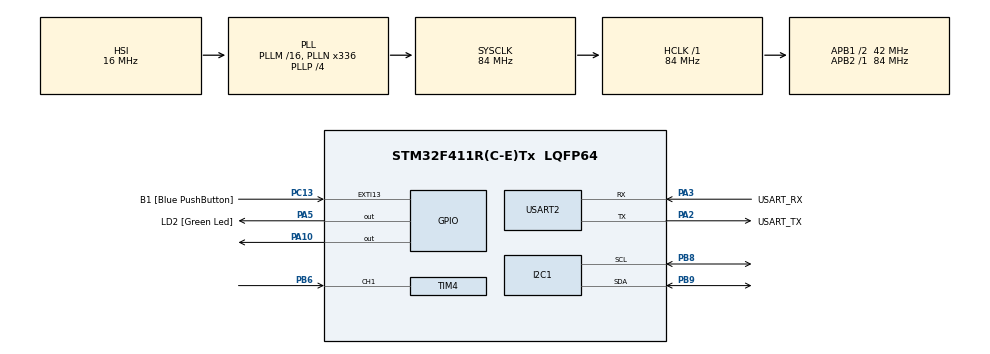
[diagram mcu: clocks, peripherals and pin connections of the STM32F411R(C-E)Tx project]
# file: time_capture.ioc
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I2C1.OwnAddress=1
Mcu.Family=STM32F4
Mcu.Name=STM32F411R(C-E)Tx
Mcu.Package=LQFP64
NVIC.I2C1_EV_IRQn=true\:0\:0\:false\:false\:true\:true\:true
NVIC.PriorityGroup=NVIC_PRIORITYGROUP_0
NVIC.TIM4_IRQn=true\:0\:0\:false\:false\:true\:true\:true
PA10.Signal=GPIO_Output
PA13.GPIO_Label=TMS
PA13.Mode=Serial_Wire
PA13.Signal=SYS_JTMS-SWDIO
PA14.GPIO_Label=TCK
PA14.Mode=Serial_Wire
PA14.Signal=SYS_JTCK-SWCLK
PA2.GPIO_Label=USART_TX
PA2.Mode=Asynchronous
PA2.Signal=USART2_TX
PA3.GPIO_Label=USART_RX
PA3.Mode=Asynchronous
PA3.Signal=USART2_RX
PA5.GPIO_Label=LD2 [Green Led]
PA5.Signal=GPIO_Output
PB3.GPIO_Label=SWO
PB3.Signal=SYS_JTDO-SWO
PB6.Signal=S_TIM4_CH1
PB8.Mode=I2C
PB8.Signal=I2C1_SCL
PB9.Mode=I2C
PB9.Signal=I2C1_SDA
PC13-ANTI_TAMP.GPIO_Label=B1 [Blue PushButton]
PC13-ANTI_TAMP.GPIO_ModeDefaultEXTI=GPIO_MODE_IT_FALLING
PC13-ANTI_TAMP.Signal=GPXTI13
PC14-OSC32_IN.Mode=LSE-External-Oscillator
PC14-OSC32_IN.Signal=RCC_OSC32_IN
PC15-OSC32_OUT.Mode=LSE-External-Oscillator
PC15-OSC32_OUT.Signal=RCC_OSC32_OUT
PH0\ -\ OSC_IN.Mode=HSE-External-Clock-Source
PH0\ -\ OSC_IN.Signal=RCC_OSC_IN
PH1\ -\ OSC_OUT.Mode=HSE-External-Clock-Source
PH1\ -\ OSC_OUT.Signal=RCC_OSC_OUT
ProjectManager.HeapSize=0x200
ProjectManager.StackSize=0x400
ProjectManager.TargetToolchain=STM32CubeIDE
RCC.48MHZClocksFreq_Value=84000000
RCC.AHBFreq_Value=84000000
RCC.APB1CLKDivider=RCC_HCLK_DIV2
RCC.APB1Freq_Value=42000000
RCC.APB1TimFreq_Value=84000000
RCC.APB2Freq_Value=84000000
RCC.APB2TimFreq_Value=84000000
RCC.CortexFreq_Value=84000000
RCC.FLatency-AdvancedSettings=FLASH_LATENCY_2
RCC.HCLKFreq_Value=84000000
RCC.HSE_VALUE=8000000
RCC.HSI_VALUE=16000000
RCC.PLLN=336
RCC.PLLP=RCC_PLLP_DIV4
RCC.SYSCLKFreq_VALUE=84000000
RCC.SYSCLKSource=RCC_SYSCLKSOURCE_PLLCLK
RCC.VCOOutputFreq_Value=336000000
SH.S_TIM4_CH1.0=TIM4_CH1,Input_Capture1_from_TI1
TIM3.Prescaler=83
TIM4.Channel-Input_Capture1_from_TI1=TIM_CHANNEL_1
TIM4.ICPolarity_CH1=TIM_INPUTCHANNELPOLARITY_BOTHEDGE
TIM4.Prescaler=83
USART2.VirtualMode=VM_ASYNC
VP_TIM3_VS_ClockSourceINT.Mode=Internal
board=NUCLEO-F411RE

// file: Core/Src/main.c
/* USER CODE BEGIN Header */
/**
  ******************************************************************************
  * @file           : main.c
  * @brief          : Main program body
  ******************************************************************************
  * @attention
  *
  * Copyright (c) 2022 STMicroelectronics.
  * All rights reserved.
  *
  * This software is licensed under terms that can be found in the LICENSE file
  * in the root directory of this software component.
  * If no LICENSE file comes with this software, it is provided AS-IS.
  *
  ******************************************************************************
  */
/* USER CODE END Header */
#include "main.h"

I2C_HandleTypeDef hi2c1;

TIM_HandleTypeDef htim3;
TIM_HandleTypeDef htim4;

UART_HandleTypeDef huart2;

void SystemClock_Config(void);
static void MX_GPIO_Init(void);
static void MX_USART2_UART_Init(void);
static void MX_TIM4_Init(void);
static void MX_TIM3_Init(void);
static void MX_I2C1_Init(void);

/* USER CODE BEGIN 0 */
char c[7];
char str[20];

uint32_t counter1 = 0;
uint32_t counter2 = 0;
uint32_t timeDiff = 0;
int isFirstCap = 0;

void HAL_TIM_IC_CaptureCallback(TIM_HandleTypeDef *htim){
	if (htim->Channel == HAL_TIM_ACTIVE_CHANNEL_1){
		if (isFirstCap == 0){
			/*
			 * 1. Get current count into -> counter1
			 *  // 2. Change edge detection from "rising" -> "falling" || Implicitly done by IOC
			 * 3. Set isFirstCap to -> true;
			 * */
			counter1 = HAL_TIM_ReadCapturedValue(htim, TIM_CHANNEL_1);
			isFirstCap = 1;
		}
		else{
			counter2 = HAL_TIM_ReadCapturedValue(htim, TIM_CHANNEL_1);

			if (counter2 > counter1){
				timeDiff = counter2 - counter1;
			}
			else{
				timeDiff = 65536 + counter2 - counter1;
			}
		    sprintf(str, "distance = %.2f\r\n",(timeDiff / 58.2));
		    print(str);
			__HAL_TIM_SET_COUNTER(htim, 0);  // reset the counter
			isFirstCap = 0; // set it back to false
			__HAL_TIM_DISABLE_IT(htim, TIM_IT_CC1);
		}

	}
}

void HCSR04_Read(){
	HAL_GPIO_WritePin(GPIOA, GPIO_PIN_10, 0);
	delay_us(2);
	HAL_GPIO_WritePin(GPIOA, GPIO_PIN_10, 1);
	delay_us(10);
	HAL_GPIO_WritePin(GPIOA, GPIO_PIN_10, 0);

	__HAL_TIM_ENABLE_IT(&htim4, TIM_IT_CC1);
}

void delay_us (uint16_t us)
{
    __HAL_TIM_SET_COUNTER(&htim3,0);  // set the counter value a 0
    while (__HAL_TIM_GET_COUNTER(&htim3) < us);  // wait for the counter to reach the us input in the parameter
}

void print(char* str){
	HAL_UART_Transmit(&huart2, str, strlen(str), 100);
}
/* USER CODE END 0 */

int main(void)
{

  /* MCU Configuration--------------------------------------------------------*/

  /* Reset of all peripherals, Initializes the Flash interface and the Systick. */
  HAL_Init();

  /* Configure the system clock */
  SystemClock_Config();

  /* Initialize all configured peripherals */
  MX_GPIO_Init();
  MX_USART2_UART_Init();
  MX_TIM4_Init();
  MX_TIM3_Init();
  MX_I2C1_Init();
  /* USER CODE BEGIN 2 */
  HAL_TIM_Base_Start(&htim3);
  HAL_TIM_IC_Start_IT(&htim4, TIM_CHANNEL_1);
  /* USER CODE END 2 */

  /* Infinite loop */
  /* USER CODE BEGIN WHILE */
  while (1)
  {
	  HCSR04_Read();
	  	HAL_I2C_Slave_Transmit(&hi2c1,str,sizeof(str),100);
	  	HAL_Delay(500);
    /* USER CODE END WHILE */

  }
}

void SystemClock_Config(void)
{
  RCC_OscInitTypeDef RCC_OscInitStruct = {0};
  RCC_ClkInitTypeDef RCC_ClkInitStruct = {0};

  /** Configure the main internal regulator output voltage
  */
  __HAL_RCC_PWR_CLK_ENABLE();
  __HAL_PWR_VOLTAGESCALING_CONFIG(PWR_REGULATOR_VOLTAGE_SCALE1);
  /** Initializes the RCC Oscillators according to the specified parameters
  * in the RCC_OscInitTypeDef structure.
  */
  RCC_OscInitStruct.OscillatorType = RCC_OSCILLATORTYPE_HSI;
  RCC_OscInitStruct.HSIState = RCC_HSI_ON;
  RCC_OscInitStruct.HSICalibrationValue = RCC_HSICALIBRATION_DEFAULT;
  RCC_OscInitStruct.PLL.PLLState = RCC_PLL_ON;
  RCC_OscInitStruct.PLL.PLLSource = RCC_PLLSOURCE_HSI;
  RCC_OscInitStruct.PLL.PLLM = 16;
  RCC_OscInitStruct.PLL.PLLN = 336;
  RCC_OscInitStruct.PLL.PLLP = RCC_PLLP_DIV4;
  RCC_OscInitStruct.PLL.PLLQ = 4;
  if (HAL_RCC_OscConfig(&RCC_OscInitStruct) != HAL_OK)
  {
    Error_Handler();
  }
  /** Initializes the CPU, AHB and APB buses clocks
  */
  RCC_ClkInitStruct.ClockType = RCC_CLOCKTYPE_HCLK|RCC_CLOCKTYPE_SYSCLK
                              |RCC_CLOCKTYPE_PCLK1|RCC_CLOCKTYPE_PCLK2;
  RCC_ClkInitStruct.SYSCLKSource = RCC_SYSCLKSOURCE_PLLCLK;
  RCC_ClkInitStruct.AHBCLKDivider = RCC_SYSCLK_DIV1;
  RCC_ClkInitStruct.APB1CLKDivider = RCC_HCLK_DIV2;
  RCC_ClkInitStruct.APB2CLKDivider = RCC_HCLK_DIV1;

  if (HAL_RCC_ClockConfig(&RCC_ClkInitStruct, FLASH_LATENCY_2) != HAL_OK)
  {
    Error_Handler();
  }
}

static void MX_I2C1_Init(void)
{

  hi2c1.Instance = I2C1;
  hi2c1.Init.ClockSpeed = 100000;
  hi2c1.Init.DutyCycle = I2C_DUTYCYCLE_2;
  hi2c1.Init.OwnAddress1 = 2;
  hi2c1.Init.AddressingMode = I2C_ADDRESSINGMODE_7BIT;
  hi2c1.Init.DualAddressMode = I2C_DUALADDRESS_DISABLE;
  hi2c1.Init.OwnAddress2 = 0;
  hi2c1.Init.GeneralCallMode = I2C_GENERALCALL_DISABLE;
  hi2c1.Init.NoStretchMode = I2C_NOSTRETCH_DISABLE;
  if (HAL_I2C_Init(&hi2c1) != HAL_OK)
  {
    Error_Handler();
  }

}

static void MX_TIM3_Init(void)
{

  TIM_ClockConfigTypeDef sClockSourceConfig = {0};
  TIM_MasterConfigTypeDef sMasterConfig = {0};

  htim3.Instance = TIM3;
  htim3.Init.Prescaler = 83;
  htim3.Init.CounterMode = TIM_COUNTERMODE_UP;
  htim3.Init.Period = 65535;
  htim3.Init.ClockDivision = TIM_CLOCKDIVISION_DIV1;
  htim3.Init.AutoReloadPreload = TIM_AUTORELOAD_PRELOAD_DISABLE;
  if (HAL_TIM_Base_Init(&htim3) != HAL_OK)
  {
    Error_Handler();
  }
  sClockSourceConfig.ClockSource = TIM_CLOCKSOURCE_INTERNAL;
  if (HAL_TIM_ConfigClockSource(&htim3, &sClockSourceConfig) != HAL_OK)
  {
    Error_Handler();
  }
  sMasterConfig.MasterOutputTrigger = TIM_TRGO_RESET;
  sMasterConfig.MasterSlaveMode = TIM_MASTERSLAVEMODE_DISABLE;
  if (HAL_TIMEx_MasterConfigSynchronization(&htim3, &sMasterConfig) != HAL_OK)
  {
    Error_Handler();
  }

}

static void MX_TIM4_Init(void)
{

  TIM_MasterConfigTypeDef sMasterConfig = {0};
  TIM_IC_InitTypeDef sConfigIC = {0};

  htim4.Instance = TIM4;
  htim4.Init.Prescaler = 83;
  htim4.Init.CounterMode = TIM_COUNTERMODE_UP;
  htim4.Init.Period = 65535;
  htim4.Init.ClockDivision = TIM_CLOCKDIVISION_DIV1;
  htim4.Init.AutoReloadPreload = TIM_AUTORELOAD_PRELOAD_DISABLE;
  if (HAL_TIM_IC_Init(&htim4) != HAL_OK)
  {
    Error_Handler();
  }
  sMasterConfig.MasterOutputTrigger = TIM_TRGO_RESET;
  sMasterConfig.MasterSlaveMode = TIM_MASTERSLAVEMODE_DISABLE;
  if (HAL_TIMEx_MasterConfigSynchronization(&htim4, &sMasterConfig) != HAL_OK)
  {
    Error_Handler();
  }
  sConfigIC.ICPolarity = TIM_INPUTCHANNELPOLARITY_BOTHEDGE;
  sConfigIC.ICSelection = TIM_ICSELECTION_DIRECTTI;
  sConfigIC.ICPrescaler = TIM_ICPSC_DIV1;
  sConfigIC.ICFilter = 0;
  if (HAL_TIM_IC_ConfigChannel(&htim4, &sConfigIC, TIM_CHANNEL_1) != HAL_OK)
  {
    Error_Handler();
  }

}

static void MX_USART2_UART_Init(void)
{

  huart2.Instance = USART2;
  huart2.Init.BaudRate = 115200;
  huart2.Init.WordLength = UART_WORDLENGTH_8B;
  huart2.Init.StopBits = UART_STOPBITS_1;
  huart2.Init.Parity = UART_PARITY_NONE;
  huart2.Init.Mode = UART_MODE_TX_RX;
  huart2.Init.HwFlowCtl = UART_HWCONTROL_NONE;
  huart2.Init.OverSampling = UART_OVERSAMPLING_16;
  if (HAL_UART_Init(&huart2) != HAL_OK)
  {
    Error_Handler();
  }

}

static void MX_GPIO_Init(void)
{
  GPIO_InitTypeDef GPIO_InitStruct = {0};

  /* GPIO Ports Clock Enable */
  __HAL_RCC_GPIOC_CLK_ENABLE();
  __HAL_RCC_GPIOH_CLK_ENABLE();
  __HAL_RCC_GPIOA_CLK_ENABLE();
  __HAL_RCC_GPIOB_CLK_ENABLE();

  /*Configure GPIO pin Output Level */
  HAL_GPIO_WritePin(GPIOA, LD2_Pin|GPIO_PIN_10, GPIO_PIN_RESET);

  /*Configure GPIO pin : B1_Pin */
  GPIO_InitStruct.Pin = B1_Pin;
  GPIO_InitStruct.Mode = GPIO_MODE_IT_FALLING;
  GPIO_InitStruct.Pull = GPIO_NOPULL;
  HAL_GPIO_Init(B1_GPIO_Port, &GPIO_InitStruct);

  /*Configure GPIO pins : LD2_Pin PA10 */
  GPIO_InitStruct.Pin = LD2_Pin|GPIO_PIN_10;
  GPIO_InitStruct.Mode = GPIO_MODE_OUTPUT_PP;
  GPIO_InitStruct.Pull = GPIO_NOPULL;
  GPIO_InitStruct.Speed = GPIO_SPEED_FREQ_LOW;
  HAL_GPIO_Init(GPIOA, &GPIO_InitStruct);

}

void Error_Handler(void)
{
  __disable_irq();
  while (1)
  {
  }
}
